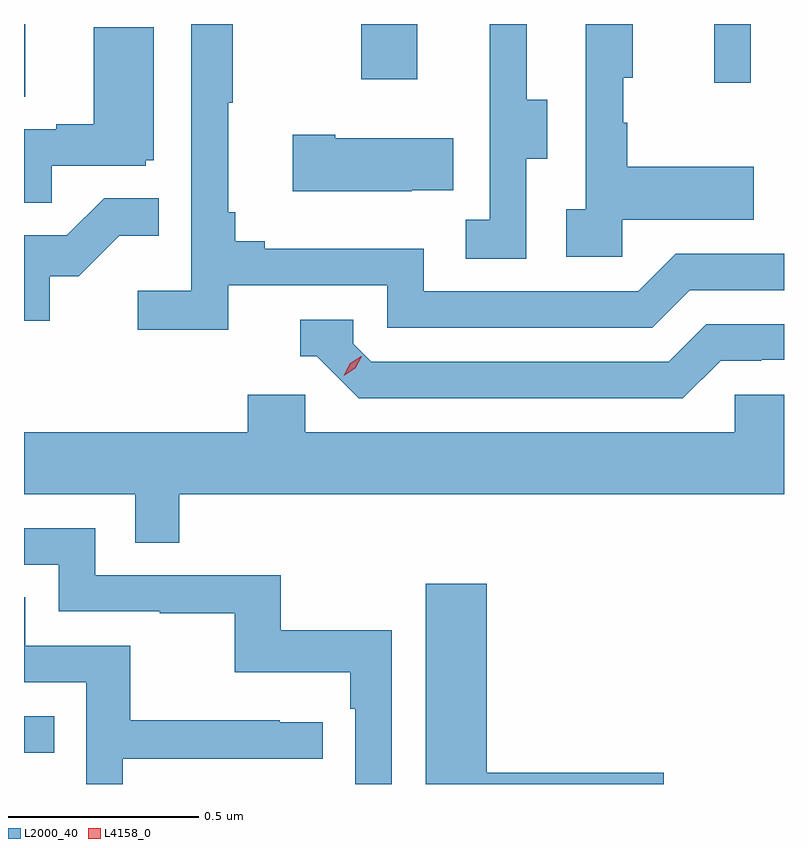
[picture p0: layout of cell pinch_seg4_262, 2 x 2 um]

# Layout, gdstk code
import gdstk
lib = gdstk.Library(unit=1e-6, precision=1e-09)
def R(c, l, rs):  # rectangles x0, y0, x1, y1
    for r in rs: c.add(gdstk.rectangle(r[:2], r[2:], *l))
def P(c, l, *ps):  # polygons
    for p in ps: c.add(gdstk.Polygon(p, *l))
L2000_40 = (2000, 40)
L4158_0 = (4158, 0)

pinch_seg4_262 = lib.new_cell('pinch_seg4_262')
R(pinch_seg4_262, L2000_40, [(950.596,820.116,950.675,820.212), (950.596,821.842,950.599,822.034), (952.412,821.88,952.509,822.034), (951.484,821.889,951.631,822.034)])
P(pinch_seg4_262, L2000_40, [(951.918,821.68),(951.973,821.68),(951.973,821.835),(951.919,821.835),(951.919,822.034),(951.821,822.034),(951.821,821.823),(951.822,821.823),(951.822,821.519),(951.759,821.519),(951.759,821.416),(951.918,821.416)],
  [(952.17,821.519),(952.517,821.519),(952.517,821.659),(952.183,821.659),(952.183,821.774),(952.173,821.774),(952.173,821.892),(952.198,821.892),(952.198,822.034),(952.074,822.034),(952.074,821.546),(952.023,821.546),(952.023,821.421),(952.17,821.421)],
  [(951.134,821.346),(951.552,821.346),(951.552,821.235),(952.249,821.235),(952.348,821.334),(952.596,821.334),(952.596,821.43),(952.311,821.43),(952.212,821.331),(951.648,821.331),(951.648,821.443),(951.229,821.443),(951.229,821.462),(951.152,821.462),(951.152,821.539),(951.133,821.539),(951.133,821.827),(951.145,821.827),(951.145,822.034),(951.036,822.034),(951.036,821.332),(950.895,821.332),(950.895,821.23),(951.134,821.23)],
  [(950.669,821.661),(950.916,821.661),(950.916,821.676),(950.938,821.676),(950.938,822.025),(950.78,822.025),(950.78,821.77),(950.681,821.77),(950.681,821.757),(950.596,821.757),(950.596,821.563),(950.669,821.563)],
  [(951.617,821.597),(951.725,821.597),(951.725,821.734),(951.415,821.734),(951.415,821.742),(951.303,821.742),(951.303,821.594),(951.617,821.594)],
  [(950.664,821.37),(950.74,821.37),(950.847,821.477),(950.951,821.477),(950.951,821.576),(950.807,821.576),(950.709,821.478),(950.596,821.478),(950.596,821.253),(950.664,821.253)],
  [(952.429,821.148),(952.536,821.148),(952.536,821.151),(952.596,821.151),(952.596,821.244),(952.392,821.244),(952.293,821.145),(951.51,821.145),(951.462,821.193),(951.462,821.256),(951.323,821.256),(951.323,821.16),(951.366,821.16),(951.477,821.049),(952.33,821.049)],
  [(951.005,820.796),(952.596,820.796),(952.596,821.058),(952.467,821.058),(952.467,820.96),(951.336,820.96),(951.336,821.058),(951.185,821.058),(951.185,820.96),(950.596,820.96),(950.596,820.796),(950.889,820.796),(950.889,820.669),(951.005,820.669)],
  [(951.564,820.438),(951.271,820.438),(951.271,820.584),(950.784,820.584),(950.784,820.707),(950.596,820.707),(950.596,820.611),(950.688,820.611),(950.688,820.488),(950.953,820.488),(950.953,820.483),(951.15,820.483),(951.15,820.328),(951.455,820.328),(951.455,820.232),(951.468,820.232),(951.468,820.034),(951.564,820.034)],
  [(952.279,820.064),(951.814,820.064),(951.814,820.561),(951.653,820.561),(951.653,820.034),(952.279,820.034)],
  [(950.856,820.101),(951.382,820.101),(951.382,820.197),(951.269,820.197),(951.269,820.202),(950.876,820.202),(950.876,820.398),(950.599,820.398),(950.599,820.526),(950.596,820.526),(950.596,820.302),(950.76,820.302),(950.76,820.034),(950.856,820.034)])
P(pinch_seg4_262, L4158_0, [(951.437,821.108),(951.437,821.109),(951.454,821.141),(951.484,821.16),(951.485,821.16),(951.485,821.16),(951.468,821.128),(951.437,821.108)])

lib.write_gds('pinch_seg4_262.gds')
